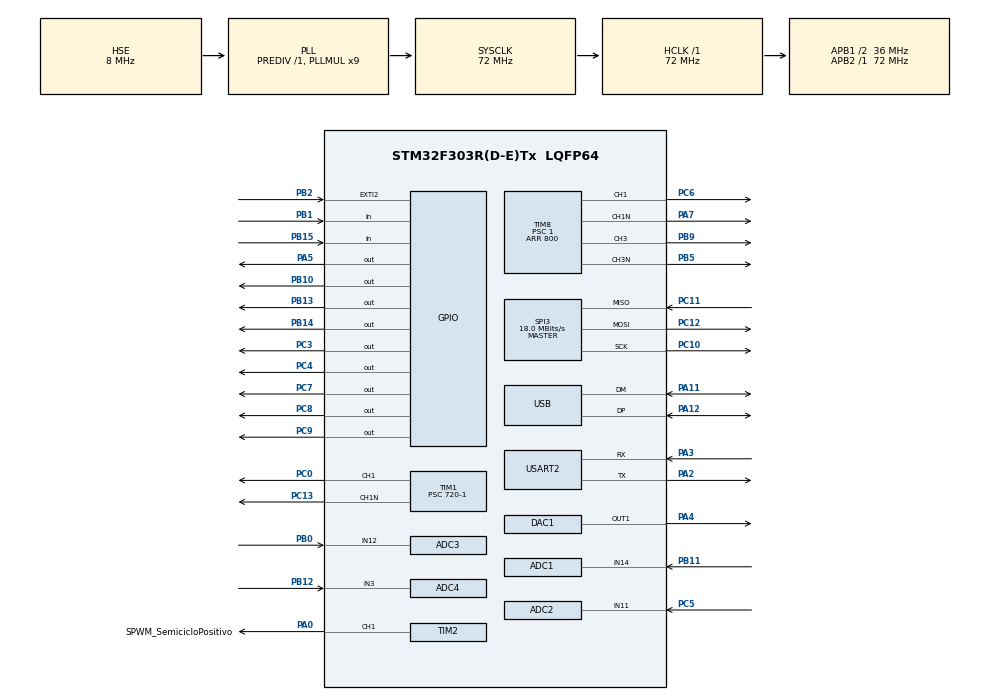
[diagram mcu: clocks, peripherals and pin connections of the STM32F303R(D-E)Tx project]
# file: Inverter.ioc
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ADC1.Channel-1\#ChannelRegularConversion=ADC_CHANNEL_14
ADC1.ClockPrescaler=ADC_CLOCK_SYNC_PCLK_DIV1
ADC1.ContinuousConvMode=ENABLE
ADC1.DMAContinuousRequests=ENABLE
ADC1.EOCSelection=ADC_EOC_SEQ_CONV
ADC1.EnableInjectedConversion=DISABLE
ADC1.NbrOfConversionFlag=1
ADC1.Offset-1\#ChannelRegularConversion=0
ADC1.OffsetNumber-1\#ChannelRegularConversion=ADC_OFFSET_NONE
ADC1.Overrun=ADC_OVR_DATA_OVERWRITTEN
ADC1.Rank-1\#ChannelRegularConversion=1
ADC1.SamplingTime-1\#ChannelRegularConversion=ADC_SAMPLETIME_1CYCLE_5
ADC1.master=1
ADC2.Channel-3\#ChannelRegularConversion=ADC_CHANNEL_11
ADC2.ClockPrescaler=ADC_CLOCK_SYNC_PCLK_DIV1
ADC2.ContinuousConvMode=ENABLE
ADC2.DMAContinuousRequests=ENABLE
ADC2.EnableInjectedConversion=DISABLE
ADC2.NbrOfConversionFlag=1
ADC2.Offset-3\#ChannelRegularConversion=0
ADC2.OffsetNumber-3\#ChannelRegularConversion=ADC_OFFSET_NONE
ADC2.Rank-3\#ChannelRegularConversion=1
ADC2.SamplingTime-3\#ChannelRegularConversion=ADC_SAMPLETIME_1CYCLE_5
ADC3.Channel-0\#ChannelRegularConversion=ADC_CHANNEL_12
ADC3.ClockPrescaler=ADC_CLOCK_SYNC_PCLK_DIV1
ADC3.ContinuousConvMode=ENABLE
ADC3.DMAContinuousRequests=ENABLE
ADC3.Mode=ADC_MODE_INDEPENDENT
ADC3.NbrOfConversionFlag=1
ADC3.Offset-0\#ChannelRegularConversion=0
ADC3.OffsetNumber-0\#ChannelRegularConversion=ADC_OFFSET_NONE
ADC3.Rank-0\#ChannelRegularConversion=1
ADC3.SamplingTime-0\#ChannelRegularConversion=ADC_SAMPLETIME_1CYCLE_5
ADC3.master=1
ADC4.Channel-1\#ChannelRegularConversion=ADC_CHANNEL_3
ADC4.ClockPrescaler=ADC_CLOCK_SYNC_PCLK_DIV1
ADC4.ContinuousConvMode=ENABLE
ADC4.DMAContinuousRequests=ENABLE
ADC4.NbrOfConversionFlag=1
ADC4.Offset-1\#ChannelRegularConversion=0
ADC4.OffsetNumber-1\#ChannelRegularConversion=ADC_OFFSET_NONE
ADC4.Rank-1\#ChannelRegularConversion=1
ADC4.SamplingTime-1\#ChannelRegularConversion=ADC_SAMPLETIME_1CYCLE_5
DAC1.DAC_Trigger=DAC_TRIGGER_T2_TRGO
Dma.ADC1.0.Direction=DMA_PERIPH_TO_MEMORY
Dma.ADC1.0.Instance=DMA1_Channel1
Dma.ADC1.0.MemDataAlignment=DMA_MDATAALIGN_WORD
Dma.ADC1.0.MemInc=DMA_MINC_ENABLE
Dma.ADC1.0.Mode=DMA_NORMAL
Dma.ADC1.0.PeriphDataAlignment=DMA_PDATAALIGN_WORD
Dma.ADC1.0.PeriphInc=DMA_PINC_DISABLE
Dma.ADC1.0.Priority=DMA_PRIORITY_VERY_HIGH
Dma.ADC2.3.Direction=DMA_PERIPH_TO_MEMORY
Dma.ADC2.3.Instance=DMA2_Channel1
Dma.ADC2.3.MemDataAlignment=DMA_MDATAALIGN_WORD
Dma.ADC2.3.MemInc=DMA_MINC_ENABLE
Dma.ADC2.3.Mode=DMA_NORMAL
Dma.ADC2.3.PeriphDataAlignment=DMA_PDATAALIGN_WORD
Dma.ADC2.3.PeriphInc=DMA_PINC_DISABLE
Dma.ADC2.3.Priority=DMA_PRIORITY_VERY_HIGH
Dma.ADC3.1.Direction=DMA_PERIPH_TO_MEMORY
Dma.ADC3.1.Instance=DMA2_Channel5
Dma.ADC3.1.MemDataAlignment=DMA_MDATAALIGN_WORD
Dma.ADC3.1.MemInc=DMA_MINC_ENABLE
Dma.ADC3.1.Mode=DMA_NORMAL
Dma.ADC3.1.PeriphDataAlignment=DMA_PDATAALIGN_WORD
Dma.ADC3.1.PeriphInc=DMA_PINC_DISABLE
Dma.ADC3.1.Priority=DMA_PRIORITY_VERY_HIGH
Dma.ADC4.2.Direction=DMA_PERIPH_TO_MEMORY
Dma.ADC4.2.Instance=DMA2_Channel2
Dma.ADC4.2.MemDataAlignment=DMA_MDATAALIGN_WORD
Dma.ADC4.2.MemInc=DMA_MINC_ENABLE
Dma.ADC4.2.Mode=DMA_NORMAL
Dma.ADC4.2.PeriphDataAlignment=DMA_PDATAALIGN_WORD
Dma.ADC4.2.PeriphInc=DMA_PINC_DISABLE
Dma.ADC4.2.Priority=DMA_PRIORITY_VERY_HIGH
Dma.DAC1_CH1.4.Direction=DMA_MEMORY_TO_PERIPH
Dma.DAC1_CH1.4.Instance=DMA1_Channel3
Dma.DAC1_CH1.4.MemDataAlignment=DMA_MDATAALIGN_WORD
Dma.DAC1_CH1.4.MemInc=DMA_MINC_ENABLE
Dma.DAC1_CH1.4.Mode=DMA_CIRCULAR
Dma.DAC1_CH1.4.PeriphDataAlignment=DMA_PDATAALIGN_WORD
Dma.DAC1_CH1.4.PeriphInc=DMA_PINC_DISABLE
Dma.DAC1_CH1.4.Priority=DMA_PRIORITY_LOW
Dma.MEMTOMEM.6.Direction=DMA_MEMORY_TO_MEMORY
Dma.MEMTOMEM.6.Instance=DMA1_Channel4
Dma.MEMTOMEM.6.MemDataAlignment=DMA_MDATAALIGN_HALFWORD
Dma.MEMTOMEM.6.MemInc=DMA_MINC_ENABLE
Dma.MEMTOMEM.6.Mode=DMA_NORMAL
Dma.MEMTOMEM.6.PeriphDataAlignment=DMA_PDATAALIGN_HALFWORD
Dma.MEMTOMEM.6.PeriphInc=DMA_PINC_ENABLE
Dma.MEMTOMEM.6.Priority=DMA_PRIORITY_HIGH
Dma.Request0=ADC1
Dma.Request1=ADC3
Dma.Request2=ADC4
Dma.Request3=ADC2
Dma.Request4=DAC1_CH1
Dma.Request5=TIM2_CH1
Dma.Request6=MEMTOMEM
Dma.TIM2_CH1.5.Direction=DMA_MEMORY_TO_PERIPH
Dma.TIM2_CH1.5.Instance=DMA1_Channel5
Dma.TIM2_CH1.5.MemDataAlignment=DMA_MDATAALIGN_WORD
Dma.TIM2_CH1.5.MemInc=DMA_MINC_ENABLE
Dma.TIM2_CH1.5.Mode=DMA_CIRCULAR
Dma.TIM2_CH1.5.PeriphDataAlignment=DMA_PDATAALIGN_WORD
Dma.TIM2_CH1.5.PeriphInc=DMA_PINC_DISABLE
Dma.TIM2_CH1.5.Priority=DMA_PRIORITY_VERY_HIGH
FATFS._FS_LOCK=30
FATFS._FS_NORTC=0
FATFS._MAX_SS=512
FATFS._MIN_SS=512
FATFS._USE_FORWARD=1
FATFS._USE_LFN=1
Mcu.Family=STM32F3
Mcu.Name=STM32F303R(D-E)Tx
Mcu.Package=LQFP64
NVIC.DMA1_Channel1_IRQn=true\:0\:0\:false\:false\:true\:false\:true\:true
NVIC.DMA1_Channel3_IRQn=true\:0\:0\:false\:false\:true\:false\:true\:true
NVIC.DMA1_Channel5_IRQn=true\:0\:0\:false\:false\:true\:false\:true\:true
NVIC.DMA2_Channel1_IRQn=true\:0\:0\:false\:false\:true\:false\:true\:true
NVIC.DMA2_Channel2_IRQn=true\:0\:0\:false\:false\:true\:false\:true\:true
NVIC.DMA2_Channel5_IRQn=true\:0\:0\:false\:false\:true\:false\:true\:true
NVIC.PriorityGroup=NVIC_PRIORITYGROUP_0
NVIC.TIM1_UP_TIM16_IRQn=true\:0\:0\:false\:false\:true\:true\:true\:true
NVIC.TIM3_IRQn=true\:0\:7\:false\:false\:true\:true\:true\:true
NVIC.TIM7_IRQn=true\:0\:0\:false\:false\:true\:true\:true\:true
NVIC.USB_LP_IRQn=true\:0\:0\:false\:false\:true\:false\:true\:true
PA0.GPIO_Label=SPWM_SemicicloPositivo
PA0.Signal=S_TIM2_CH1_ETR
PA11.Mode=Device
PA11.Signal=USB_DM
PA12.Mode=Device
PA12.Signal=USB_DP
PA13.Mode=Serial_Wire
PA13.Signal=SYS_JTMS-SWDIO
PA14.Mode=Serial_Wire
PA14.Signal=SYS_JTCK-SWCLK
PA2.GPIO_Mode=GPIO_MODE_AF_PP
PA2.GPIO_ModeDefaultPP=GPIO_MODE_AF_PP
PA2.GPIO_PuPd=GPIO_NOPULL
PA2.GPIO_Speed=GPIO_SPEED_FREQ_HIGH
PA2.Mode=Asynchronous
PA2.Signal=USART2_TX
PA3.GPIO_Mode=GPIO_MODE_AF_PP
PA3.GPIO_ModeDefaultPP=GPIO_MODE_AF_PP
PA3.GPIO_PuPd=GPIO_NOPULL
PA3.GPIO_Speed=GPIO_SPEED_FREQ_HIGH
PA3.Mode=Asynchronous
PA3.Signal=USART2_RX
PA4.Signal=COMP_DAC11_group
PA5.GPIO_Mode=GPIO_MODE_OUTPUT_PP
PA5.GPIO_ModeDefaultOutputPP=GPIO_MODE_OUTPUT_PP
PA5.GPIO_PuPd=GPIO_NOPULL
PA5.GPIO_Speed=GPIO_SPEED_FREQ_LOW
PA5.PinState=GPIO_PIN_RESET
PA5.Signal=GPIO_Output
PA7.Mode=PWM Generation1 CH1 CH1N
PA7.Signal=TIM8_CH1N
PB0.Mode=IN12-Single-Ended
PB0.Signal=ADC3_IN12
PB1.Signal=GPIO_Input
PB10.Signal=GPIO_Output
PB11.Mode=IN14-Single-Ended
PB11.Signal=ADC1_IN14
PB12.Mode=IN3-Single-Ended
PB12.Signal=ADC4_IN3
PB13.Signal=GPIO_Output
PB14.Signal=GPIO_Output
PB15.Signal=GPIO_Input
PB2.Signal=GPXTI2
PB3.Signal=SYS_JTDO-TRACESWO
PB5.Mode=PWM Generation3 CH3 CH3N
PB5.Signal=TIM8_CH3N
PB9.Signal=S_TIM8_CH3
PC0.Signal=S_TIM1_CH1
PC10.GPIO_Speed=GPIO_SPEED_FREQ_HIGH
PC10.Mode=Full_Duplex_Master
PC10.Signal=SPI3_SCK
PC11.Mode=Full_Duplex_Master
PC11.Signal=SPI3_MISO
PC12.Mode=Full_Duplex_Master
PC12.Signal=SPI3_MOSI
PC13.Mode=PWM Generation1 CH1 CH1N
PC13.Signal=TIM1_CH1N
PC14-OSC32_IN.Mode=LSE-External-Clock-Source
PC14-OSC32_IN.Signal=RCC_OSC32_IN
PC15-OSC32_OUT.Signal=RCC_OSC32_OUT
PC3.Signal=GPIO_Output
PC4.Signal=GPIO_Output
PC5.Mode=IN11-Single-Ended
PC5.Signal=ADC2_IN11
PC6.Signal=S_TIM8_CH1
PC7.Signal=GPIO_Output
PC8.Signal=GPIO_Output
PC9.Signal=GPIO_Output
PF0-OSC_IN.Mode=HSE-External-Clock-Source
PF0-OSC_IN.Signal=RCC_OSC_IN
PF1-OSC_OUT.Signal=RCC_OSC_OUT
ProjectManager.HeapSize=0x200
ProjectManager.StackSize=0x400
ProjectManager.TargetToolchain=STM32CubeIDE
RCC.AHBFreq_Value=72000000
RCC.APB1CLKDivider=RCC_HCLK_DIV2
RCC.APB1Freq_Value=36000000
RCC.APB1TimFreq_Value=72000000
RCC.APB2Freq_Value=72000000
RCC.APB2TimFreq_Value=72000000
RCC.CortexFreq_Value=72000000
RCC.HCLKFreq_Value=72000000
RCC.HSE_VALUE=8000000
RCC.HSI_VALUE=8000000
RCC.LSE_VALUE=32768
RCC.PLLM=8
RCC.PLLMUL=RCC_PLL_MUL9
RCC.PLLN=336
RCC.PLLP=RCC_PLLP_DIV4
RCC.PLLQ=7
RCC.PRESCALERUSB=RCC_USBCLKSOURCE_PLL_DIV1_5
RCC.RCC_PLLsource_Clock_Source_FROM_HSE=RCC_HSE_PREDIV_DIV2
RCC.SYSCLKFreq_VALUE=72000000
RCC.SYSCLKSourceVirtual=RCC_SYSCLKSOURCE_PLLCLK
RCC.USBFreq_Value=48000000
RCC.Usart2ClockSelection=RCC_USART2CLKSOURCE_SYSCLK
SH.COMP_DAC11_group.0=DAC1_OUT1,DAC_OUT1
SH.S_TIM1_CH1.0=TIM1_CH1,PWM Generation1 CH1 CH1N
SH.S_TIM2_CH1_ETR.0=TIM2_CH1,PWM Generation1 CH1
SH.S_TIM8_CH1.0=TIM8_CH1,PWM Generation1 CH1 CH1N
SH.S_TIM8_CH3.0=TIM8_CH3,PWM Generation3 CH3 CH3N
SPI3.BaudRatePrescaler=SPI_BAUDRATEPRESCALER_2
SPI3.CLKPolarity=SPI_POLARITY_LOW
SPI3.CalculateBaudRate=18.0 MBits/s
SPI3.DataSize=SPI_DATASIZE_8BIT
SPI3.Direction=SPI_DIRECTION_2LINES
SPI3.Mode=SPI_MODE_MASTER
SPI3.VirtualType=VM_MASTER
TIM1.AutomaticOutput=TIM_AUTOMATICOUTPUT_DISABLE
TIM1.BreakFilter=0
TIM1.BreakState=TIM_BREAK_ENABLE
TIM1.Channel-PWM\ Generation1\ CH1\ CH1N=TIM_CHANNEL_1
TIM1.ClearInputSource=TIM_CLEARINPUTSOURCE_NONE
TIM1.DeadTime=255
TIM1.OC1Preload_PWM=DISABLE
TIM1.OCFastMode_PWM-PWM\ Generation1\ CH1\ CH1N=TIM_OCFAST_ENABLE
TIM1.OffStateIDLEMode=TIM_OSSI_DISABLE
TIM1.OffStateRunMode=TIM_OSSR_DISABLE
TIM1.Period=2000-1
TIM1.Prescaler=720-1
TIM1.Pulse-PWM\ Generation1\ CH1\ CH1N=1000-1
TIM1.TIM_MasterOutputTrigger=TIM_TRGO_RESET
TIM1.TIM_MasterSlaveMode=TIM_MASTERSLAVEMODE_DISABLE
TIM2.AutoReloadPreload=TIM_AUTORELOAD_PRELOAD_DISABLE
TIM2.Channel-PWM\ Generation1\ CH1=TIM_CHANNEL_1
TIM2.ClearInputSource=TIM_CLEARINPUTSOURCE_NONE
TIM2.OC1Preload_PWM=DISABLE
TIM2.Period=2880-1
TIM2.Prescaler=0
TIM2.Pulse-PWM\ Generation1\ CH1=0
TIM2.TIM_MasterOutputTrigger=TIM_TRGO_RESET
TIM2.TIM_MasterSlaveMode=TIM_MASTERSLAVEMODE_DISABLE
TIM3.AutoReloadPreload=TIM_AUTORELOAD_PRELOAD_ENABLE
TIM3.Period=10
TIM3.Prescaler=72
TIM3.TIM_MasterOutputTrigger=TIM_TRGO_UPDATE
TIM3.TIM_MasterSlaveMode=TIM_MASTERSLAVEMODE_DISABLE
TIM7.Period=300
TIM8.Channel-PWM\ Generation1\ CH1\ CH1N=TIM_CHANNEL_1
TIM8.Channel-PWM\ Generation2\ No\ Output=TIM_CHANNEL_2
TIM8.Channel-PWM\ Generation3\ CH3\ CH3N=TIM_CHANNEL_3
TIM8.Channel-PWM\ Generation4\ No\ Output=TIM_CHANNEL_4
TIM8.CounterMode=TIM_COUNTERMODE_CENTERALIGNED1
TIM8.DeadTime=100
TIM8.OC1Preload_PWM=DISABLE
TIM8.OC2Preload_PWM=DISABLE
TIM8.OC3Preload_PWM=DISABLE
TIM8.OC4Preload_PWM=DISABLE
TIM8.OCFastMode_PWM-PWM\ Generation1\ CH1\ CH1N=TIM_OCFAST_ENABLE
TIM8.OCFastMode_PWM-PWM\ Generation2\ No\ Output=TIM_OCFAST_ENABLE
TIM8.OCMode_PWM-PWM\ Generation1\ CH1\ CH1N=TIM_OCMODE_ASSYMETRIC_PWM1
TIM8.OCMode_PWM-PWM\ Generation2\ No\ Output=TIM_OCMODE_ASSYMETRIC_PWM1
TIM8.OCMode_PWM-PWM\ Generation3\ CH3\ CH3N=TIM_OCMODE_ASSYMETRIC_PWM1
TIM8.OCMode_PWM-PWM\ Generation4\ No\ Output=TIM_OCMODE_ASSYMETRIC_PWM1
TIM8.Period=800
TIM8.Prescaler=1
TIM8.Pulse-PWM\ Generation1\ CH1\ CH1N=500
TIM8.Pulse-PWM\ Generation3\ CH3\ CH3N=500
TIM8.TIM_MasterOutputTrigger=TIM_TRGO_OC1REF
TIM8.TIM_MasterOutputTrigger2=TIM_TRGO2_OC1REF
TIM8.TIM_MasterSlaveMode=TIM_MASTERSLAVEMODE_DISABLE
USART2.VirtualMode-Asynchronous=VM_ASYNC
USB_DEVICE.CLASS_NAME_FS=CDC
USB_DEVICE.USBD_SELF_POWERED=0
USB_DEVICE.VirtualMode=Cdc
USB_DEVICE.VirtualModeFS=Cdc_FS
VP_FATFS_VS_Generic.Mode=User_defined
VP_TIM1_VS_ClockSourceINT.Mode=Internal
VP_TIM2_VS_ClockSourceINT.Mode=Internal
VP_TIM3_VS_ClockSourceINT.Mode=Internal
VP_TIM7_VS_ClockSourceINT.Mode=Enable_Timer
VP_TIM8_VS_ClockSourceINT.Mode=Internal
VP_TIM8_VS_no_output2.Mode=PWM Generation2 No Output
VP_TIM8_VS_no_output4.Mode=PWM Generation4 No Output
VP_USB_DEVICE_VS_USB_DEVICE_CDC_FS.Mode=CDC_FS
board=NUCLEO-F303RE

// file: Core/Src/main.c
/* USER CODE BEGIN Header */
/**
  ******************************************************************************
  * @file           : main.c
  * @brief          : Main program body
  ******************************************************************************
  * @attention
  *
  * <h2><center>&copy; Copyright (c) 2020 STMicroelectronics.
  * All rights reserved.</center></h2>
  *
  * This software component is licensed by ST under BSD 3-Clause license,
  * the "License"; You may not use this file except in compliance with the
  * License. You may obtain a copy of the License at:
  *                        opensource.org/licenses/BSD-3-Clause
  *
  ******************************************************************************
  */
/* USER CODE END Header */
#include "main.h"
#include "fatfs.h"
#include "usb_device.h"

/* USER CODE BEGIN Includes */
#include "math.h"
#include "aplicacion.h"
#include "usbd_cdc_if.h"
#include "stm32f3xx_hal_dma.h"
#include "stm32f3xx_hal.h"
#include "Recursos.h"
#include "ILI9341_Driver.h"
#include "Panel Tactil.h"
#include "user_diskio.h"
#include "XPT2046_touch.h"
#include "stdio.h"

extern USBD_HandleTypeDef hUsbDeviceFS;
/* USER CODE END Includes */

ADC_HandleTypeDef hadc1;
ADC_HandleTypeDef hadc2;
ADC_HandleTypeDef hadc3;
ADC_HandleTypeDef hadc4;
DMA_HandleTypeDef hdma_adc1;
DMA_HandleTypeDef hdma_adc2;
DMA_HandleTypeDef hdma_adc3;
DMA_HandleTypeDef hdma_adc4;

DAC_HandleTypeDef hdac1;
DMA_HandleTypeDef hdma_dac1_ch1;

SPI_HandleTypeDef hspi3;

TIM_HandleTypeDef htim1;
TIM_HandleTypeDef htim2;
TIM_HandleTypeDef htim3;
TIM_HandleTypeDef htim7;
TIM_HandleTypeDef htim8;
DMA_HandleTypeDef hdma_tim2_ch1;

UART_HandleTypeDef huart2;

DMA_HandleTypeDef hdma_memtomem_dma1_channel4;
/* USER CODE BEGIN PV */
uint32_t USBRX=0;

FATFS fs;
FATFS *pfs;

FRESULT fres;
DWORD fre_clust;
uint32_t totalSpace, freeSpace;
char buffer[300];
int ERROR_SD=0;
int debug=0;
/*
volatile uint16_t contDePulsosPWM=0;
volatile uint8_t Semiciclo=0;
*/
/*
const float SPWM[256] =
{
0.0000,0.0123,0.0245,0.0368,0.0491,0.0613,0.0736,0.0858,0.0980,0.1102,
0.1224,0.1346,0.1467,0.1589,0.1710,0.1830,0.1951,0.2071,0.2191,0.2311,
0.2430,0.2549,0.2667,0.2785,0.2903,0.3020,0.3137,0.3253,0.3369,0.3484,
0.3599,0.3713,0.3827,0.3940,0.4052,0.4164,0.4276,0.4386,0.4496,0.4605,
0.4714,0.4822,0.4929,0.5035,0.5141,0.5246,0.5350,0.5453,0.5556,0.5657,
0.5758,0.5858,0.5957,0.6055,0.6152,0.6249,0.6344,0.6438,0.6532,0.6624,
0.6716,0.6806,0.6895,0.6984,0.7071,0.7157,0.7242,0.7327,0.7410,0.7491,
0.7572,0.7652,0.7730,0.7807,0.7883,0.7958,0.8032,0.8105,0.8176,0.8246,
0.8315,0.8382,0.8449,0.8514,0.8577,0.8640,0.8701,0.8761,0.8819,0.8876,
0.8932,0.8987,0.9040,0.9092,0.9142,0.9191,0.9239,0.9285,0.9330,0.9373,
0.9415,0.9456,0.9495,0.9533,0.9569,0.9604,0.9638,0.9670,0.9700,0.9729,
0.9757,0.9783,0.9808,0.9831,0.9853,0.9873,0.9892,0.9909,0.9925,0.9939,
0.9952,0.9963,0.9973,0.9981,0.9988,0.9993,0.9997,0.9999,1.0000,0.9999,
0.9997,0.9993,0.9988,0.9981,0.9973,0.9963,0.9952,0.9939,0.9925,0.9909,
0.9892,0.9873,0.9853,0.9831,0.9808,0.9783,0.9757,0.9729,0.9700,0.9670,
0.9638,0.9604,0.9569,0.9533,0.9495,0.9456,0.9415,0.9373,0.9330,0.9285,
0.9239,0.9191,0.9142,0.9092,0.9040,0.8987,0.8932,0.8876,0.8819,0.8761,
0.8701,0.8640,0.8577,0.8514,0.8449,0.8382,0.8315,0.8246,0.8176,0.8105,
0.8032,0.7958,0.7883,0.7807,0.7730,0.7652,0.7572,0.7491,0.7410,0.7327,
0.7242,0.7157,0.7071,0.6984,0.6895,0.6806,0.6716,0.6624,0.6532,0.6438,
0.6344,0.6249,0.6152,0.6055,0.5957,0.5858,0.5758,0.5657,0.5556,0.5453,
0.5350,0.5246,0.5141,0.5035,0.4929,0.4822,0.4714,0.4605,0.4496,0.4386,
0.4276,0.4164,0.4052,0.3940,0.3827,0.3713,0.3599,0.3484,0.3369,0.3253,
0.3137,0.3020,0.2903,0.2785,0.2667,0.2549,0.2430,0.2311,0.2191,0.2071,
0.1951,0.1830,0.1710,0.1589,0.1467,0.1346,0.1224,0.1102,0.0980,0.0858,
0.0736,0.0613,0.0491,0.0368,0.0245,0.0123
};

const float SPWM[250] =
{
0.0000,0.0126,0.0251,0.0377,0.0502,0.0628,0.0753,0.0879,0.1004,0.1129,
0.1253,0.1378,0.1502,0.1626,0.1750,0.1874,0.1997,0.2120,0.2243,0.2365,
0.2487,0.2608,0.2730,0.2850,0.2970,0.3090,0.3209,0.3328,0.3446,0.3564,
0.3681,0.3798,0.3914,0.4029,0.4144,0.4258,0.4371,0.4484,0.4596,0.4707,
0.4818,0.4927,0.5036,0.5144,0.5252,0.5358,0.5464,0.5569,0.5673,0.5776,
0.5878,0.5979,0.6079,0.6179,0.6277,0.6374,0.6471,0.6566,0.6660,0.6753,
0.6845,0.6937,0.7026,0.7115,0.7203,0.7290,0.7375,0.7459,0.7543,0.7624,
0.7705,0.7785,0.7863,0.7940,0.8016,0.8090,0.8163,0.8235,0.8306,0.8375,
0.8443,0.8510,0.8575,0.8639,0.8702,0.8763,0.8823,0.8881,0.8938,0.8994,
0.9048,0.9101,0.9152,0.9202,0.9251,0.9298,0.9343,0.9387,0.9430,0.9471,
0.9511,0.9549,0.9585,0.9620,0.9654,0.9686,0.9716,0.9745,0.9773,0.9799,
0.9823,0.9846,0.9867,0.9887,0.9905,0.9921,0.9936,0.9950,0.9961,0.9972,
0.9980,0.9987,0.9993,0.9997,0.9999,1.0000,0.9999,0.9997,0.9993,0.9987,
0.9980,0.9972,0.9961,0.9950,0.9936,0.9921,0.9905,0.9887,0.9867,0.9846,
0.9823,0.9799,0.9773,0.9745,0.9716,0.9686,0.9654,0.9620,0.9585,0.9549,
0.9511,0.9471,0.9430,0.9387,0.9343,0.9298,0.9251,0.9202,0.9152,0.9101,
0.9048,0.8994,0.8938,0.8881,0.8823,0.8763,0.8702,0.8639,0.8575,0.8510,
0.8443,0.8375,0.8306,0.8235,0.8163,0.8090,0.8016,0.7940,0.7863,0.7785,
0.7705,0.7624,0.7543,0.7459,0.7375,0.7290,0.7203,0.7115,0.7026,0.6937,
0.6845,0.6753,0.6660,0.6566,0.6471,0.6374,0.6277,0.6179,0.6079,0.5979,
0.5878,0.5776,0.5673,0.5569,0.5464,0.5358,0.5252,0.5144,0.5036,0.4927,
0.4818,0.4707,0.4596,0.4484,0.4371,0.4258,0.4144,0.4029,0.3914,0.3798,
0.3681,0.3564,0.3446,0.3328,0.3209,0.3090,0.2970,0.2850,0.2730,0.2608,
0.2487,0.2365,0.2243,0.2120,0.1997,0.1874,0.1750,0.1626,0.1502,0.1378,
0.1253,0.1129,0.1004,0.0879,0.0753,0.0628,0.0502,0.0377,0.0251,0.0126,
0.0000
};
*/
const float SPWM[250] =
{
		1,1,1,1,1,1,1,1,1,1,
		1,1,1,1,1,1,1,1,1,1,
		1,1,1,1,1,1,1,1,1,1,
		1,1,1,1,1,1,1,1,1,1,
		1,1,1,1,1,1,1,1,1,1,

		0,0,0,0,0,0,0,0,0,0,
		0,0,0,0,0,0,0,0,0,0,
		0,0,0,0,0,0,0,0,0,0,
		0,0,0,0,0,0,0,0,0,0,
		0,0,0,0,0,0,0,0,0,0,

		0,0,0,0,0,0,0,0,0,0,
		0,0,0,0,0,0,0,0,0,0,
		0,0,0,0,0,0,0,0,0,0,
		0,0,0,0,0,0,0,0,0,0,
		0,0,0,0,0,0,0,0,0,0,

		0,0,0,0,0,0,0,0,0,0,
		0,0,0,0,0,0,0,0,0,0,
		0,0,0,0,0,0,0,0,0,0,
		0,0,0,0,0,0,0,0,0,0,
		0,0,0,0,0,0,0,0,0,0,

		0,0,0,0,0,0,0,0,0,0,
		0,0,0,0,0,0,0,0,0,0,
		0,0,0,0,0,0,0,0,0,0,
		0,0,0,0,0,0,0,0,0,0,
		0,0,0,0,0,0,0,0,0,0

};

uint32_t SPWM1[250];
uint32_t SPWM2[250];

/* USER CODE END PV */

void SystemClock_Config(void);
static void MX_GPIO_Init(void);
static void MX_DMA_Init(void);
static void MX_USART2_UART_Init(void);
static void MX_TIM2_Init(void);
static void MX_ADC1_Init(void);
static void MX_ADC3_Init(void);
static void MX_ADC4_Init(void);
static void MX_ADC2_Init(void);
static void MX_TIM1_Init(void);
static void MX_DAC1_Init(void);
static void MX_TIM3_Init(void);
static void MX_SPI3_Init(void);
static void MX_TIM7_Init(void);
static void MX_TIM8_Init(void);

/* USER CODE BEGIN 0 */
#define PI 3.141596
uint32_t Seno[100];

//uint8_t BufferRX[100];
//uint8_t Canal=1;

void GenOnda()
{
	int i;

	for(i=0;i<100;i++)
	{
		Seno[i]=(sin(2*PI*i/100)*1000+2048);
	}
}

/* USER CODE END 0 */

int main(void)
{

  /* MCU Configuration--------------------------------------------------------*/

  /* Reset of all peripherals, Initializes the Flash interface and the Systick. */
  HAL_Init();

  /* Configure the system clock */
  SystemClock_Config();

  /* Initialize all configured peripherals */
  MX_GPIO_Init();
  MX_DMA_Init();
  MX_USART2_UART_Init();
  MX_USB_DEVICE_Init();
  MX_TIM2_Init();
  MX_ADC1_Init();
  MX_ADC3_Init();
  MX_ADC4_Init();
  MX_ADC2_Init();
  MX_TIM1_Init();
  MX_DAC1_Init();
  MX_TIM3_Init();
  MX_SPI3_Init();
  MX_FATFS_Init();
  MX_TIM7_Init();
  MX_TIM8_Init();
  /* USER CODE BEGIN 2 */

  SD_CS_OFF;
  TFT_CS_OFF;
  TP_CS_OFF;

  ILI9341_Init();
  ERROR_SD=0;
  TFT_CS_OFF;
  // Mount SD Card
  SD_CS_ON;
  if(f_mount(&fs, "",1) != FR_OK) ERROR_SD=0x01;// _Error_Handler(__FILE__, __LINE__);

  /* =============Initialization=============== */
  ILI9341_Init();
  //TP_Init();
  /* USER CODE END 2 */

  /* Infinite loop */
  /* USER CODE BEGIN WHILE */
  //HAL_CAN_Start(&hcan);
  //CAN1_Config();

  HAL_TIM_Base_Start_IT(&htim1);
  HAL_TIM_PWM_Start_IT(&htim1,TIM_CHANNEL_1);
  HAL_TIMEx_PWMN_Start(&htim1,TIM_CHANNEL_1);

  //HAL_TIM_PWM_Start(&htim2,TIM_CHANNEL_1); //Inverter
  //HAL_TIM_PWM_Start(&htim2,TIM_CHANNEL_2); //Inverter

  HAL_TIM_Base_Start(&htim2);
  HAL_TIM_PWM_Start_DMA(&htim2,TIM_CHANNEL_1,SPWM1,250);

  HAL_TIM_Base_Start(&htim3);// OSC

  HAL_TIM_Base_Start(&htim8);
  HAL_TIM_PWM_Start(&htim8, TIM_CHANNEL_1);
  HAL_TIMEx_PWMN_Start(&htim8,TIM_CHANNEL_1);

  HAL_TIM_PWM_Start(&htim8, TIM_CHANNEL_2);
  HAL_TIMEx_PWMN_Start(&htim8,TIM_CHANNEL_2);

  HAL_TIM_PWM_Start(&htim8, TIM_CHANNEL_3);
  HAL_TIMEx_PWMN_Start(&htim8,TIM_CHANNEL_3);

  GenOnda();
  HAL_DAC_Start_DMA(&hdac1,DAC_CHANNEL_1, Seno, 100, DAC_ALIGN_12B_R);

  AppInit();

  while(1)
  {
	  if(HAL_GPIO_ReadPin(TP_IRQ_GPIO_Port, TP_IRQ_Pin) == 0)
	  {
       	  AtencionTecla();
	  }
	  else
	  {
		  AppLoop();
	  }

	  HAL_GPIO_TogglePin(GPIOA,GPIO_PIN_5);

    /* USER CODE END WHILE */

  }
}

void SystemClock_Config(void)
{
  RCC_OscInitTypeDef RCC_OscInitStruct = {0};
  RCC_ClkInitTypeDef RCC_ClkInitStruct = {0};
  RCC_PeriphCLKInitTypeDef PeriphClkInit = {0};

  /** Initializes the RCC Oscillators according to the specified parameters
  * in the RCC_OscInitTypeDef structure.
  */
  RCC_OscInitStruct.OscillatorType = RCC_OSCILLATORTYPE_HSE;
  RCC_OscInitStruct.HSEState = RCC_HSE_BYPASS;
  RCC_OscInitStruct.HSIState = RCC_HSI_ON;
  RCC_OscInitStruct.PLL.PLLState = RCC_PLL_ON;
  RCC_OscInitStruct.PLL.PLLSource = RCC_PLLSOURCE_HSE;
  RCC_OscInitStruct.PLL.PLLMUL = RCC_PLL_MUL9;
  RCC_OscInitStruct.PLL.PREDIV = RCC_PREDIV_DIV1;
  if (HAL_RCC_OscConfig(&RCC_OscInitStruct) != HAL_OK)
  {
    Error_Handler();
  }

  /** Initializes the CPU, AHB and APB buses clocks
  */
  RCC_ClkInitStruct.ClockType = RCC_CLOCKTYPE_HCLK|RCC_CLOCKTYPE_SYSCLK
                              |RCC_CLOCKTYPE_PCLK1|RCC_CLOCKTYPE_PCLK2;
  RCC_ClkInitStruct.SYSCLKSource = RCC_SYSCLKSOURCE_PLLCLK;
  RCC_ClkInitStruct.AHBCLKDivider = RCC_SYSCLK_DIV1;
  RCC_ClkInitStruct.APB1CLKDivider = RCC_HCLK_DIV2;
  RCC_ClkInitStruct.APB2CLKDivider = RCC_HCLK_DIV1;

  if (HAL_RCC_ClockConfig(&RCC_ClkInitStruct, FLASH_LATENCY_2) != HAL_OK)
  {
    Error_Handler();
  }
  PeriphClkInit.PeriphClockSelection = RCC_PERIPHCLK_USB|RCC_PERIPHCLK_USART2
                              |RCC_PERIPHCLK_TIM1|RCC_PERIPHCLK_TIM8
                              |RCC_PERIPHCLK_TIM2|RCC_PERIPHCLK_TIM34;
  PeriphClkInit.Usart2ClockSelection = RCC_USART2CLKSOURCE_SYSCLK;
  PeriphClkInit.USBClockSelection = RCC_USBCLKSOURCE_PLL_DIV1_5;
  PeriphClkInit.Tim1ClockSelection = RCC_TIM1CLK_HCLK;
  PeriphClkInit.Tim8ClockSelection = RCC_TIM8CLK_HCLK;
  PeriphClkInit.Tim2ClockSelection = RCC_TIM2CLK_HCLK;
  PeriphClkInit.Tim34ClockSelection = RCC_TIM34CLK_HCLK;
  if (HAL_RCCEx_PeriphCLKConfig(&PeriphClkInit) != HAL_OK)
  {
    Error_Handler();
  }
}

static void MX_ADC1_Init(void)
{

  ADC_MultiModeTypeDef multimode = {0};
  ADC_ChannelConfTypeDef sConfig = {0};

  /** Common config
  */
  hadc1.Instance = ADC1;
  hadc1.Init.ClockPrescaler = ADC_CLOCK_SYNC_PCLK_DIV1;
  hadc1.Init.Resolution = ADC_RESOLUTION_12B;
  hadc1.Init.ScanConvMode = ADC_SCAN_DISABLE;
  hadc1.Init.ContinuousConvMode = ENABLE;
  hadc1.Init.DiscontinuousConvMode = DISABLE;
  hadc1.Init.ExternalTrigConvEdge = ADC_EXTERNALTRIGCONVEDGE_NONE;
  hadc1.Init.ExternalTrigConv = ADC_SOFTWARE_START;
  hadc1.Init.DataAlign = ADC_DATAALIGN_RIGHT;
  hadc1.Init.NbrOfConversion = 1;
  hadc1.Init.DMAContinuousRequests = ENABLE;
  hadc1.Init.EOCSelection = ADC_EOC_SEQ_CONV;
  hadc1.Init.LowPowerAutoWait = DISABLE;
  hadc1.Init.Overrun = ADC_OVR_DATA_OVERWRITTEN;
  if (HAL_ADC_Init(&hadc1) != HAL_OK)
  {
    Error_Handler();
  }

  /** Configure the ADC multi-mode
  */
  multimode.Mode = ADC_MODE_INDEPENDENT;
  if (HAL_ADCEx_MultiModeConfigChannel(&hadc1, &multimode) != HAL_OK)
  {
    Error_Handler();
  }

  /** Configure Regular Channel
  */
  sConfig.Channel = ADC_CHANNEL_14;
  sConfig.Rank = ADC_REGULAR_RANK_1;
  sConfig.SingleDiff = ADC_SINGLE_ENDED;
  sConfig.SamplingTime = ADC_SAMPLETIME_1CYCLE_5;
  sConfig.OffsetNumber = ADC_OFFSET_NONE;
  sConfig.Offset = 0;
  if (HAL_ADC_ConfigChannel(&hadc1, &sConfig) != HAL_OK)
  {
    Error_Handler();
  }

}

static void MX_ADC2_Init(void)
{

  ADC_ChannelConfTypeDef sConfig = {0};

  /** Common config
  */
  hadc2.Instance = ADC2;
  hadc2.Init.ClockPrescaler = ADC_CLOCK_SYNC_PCLK_DIV1;
  hadc2.Init.Resolution = ADC_RESOLUTION_12B;
  hadc2.Init.ScanConvMode = ADC_SCAN_DISABLE;
  hadc2.Init.ContinuousConvMode = ENABLE;
  hadc2.Init.DiscontinuousConvMode = DISABLE;
  hadc2.Init.ExternalTrigConvEdge = ADC_EXTERNALTRIGCONVEDGE_NONE;
  hadc2.Init.ExternalTrigConv = ADC_SOFTWARE_START;
  hadc2.Init.DataAlign = ADC_DATAALIGN_RIGHT;
  hadc2.Init.NbrOfConversion = 1;
  hadc2.Init.DMAContinuousRequests = ENABLE;
  hadc2.Init.EOCSelection = ADC_EOC_SINGLE_CONV;
  hadc2.Init.LowPowerAutoWait = DISABLE;
  hadc2.Init.Overrun = ADC_OVR_DATA_OVERWRITTEN;
  if (HAL_ADC_Init(&hadc2) != HAL_OK)
  {
    Error_Handler();
  }

  /** Configure Regular Channel
  */
  sConfig.Channel = ADC_CHANNEL_11;
  sConfig.Rank = ADC_REGULAR_RANK_1;
  sConfig.SingleDiff = ADC_SINGLE_ENDED;
  sConfig.SamplingTime = ADC_SAMPLETIME_1CYCLE_5;
  sConfig.OffsetNumber = ADC_OFFSET_NONE;
  sConfig.Offset = 0;
  if (HAL_ADC_ConfigChannel(&hadc2, &sConfig) != HAL_OK)
  {
    Error_Handler();
  }

}

static void MX_ADC3_Init(void)
{

  ADC_MultiModeTypeDef multimode = {0};
  ADC_ChannelConfTypeDef sConfig = {0};

  /** Common config
  */
  hadc3.Instance = ADC3;
  hadc3.Init.ClockPrescaler = ADC_CLOCK_SYNC_PCLK_DIV1;
  hadc3.Init.Resolution = ADC_RESOLUTION_12B;
  hadc3.Init.ScanConvMode = ADC_SCAN_DISABLE;
  hadc3.Init.ContinuousConvMode = ENABLE;
  hadc3.Init.DiscontinuousConvMode = DISABLE;
  hadc3.Init.ExternalTrigConvEdge = ADC_EXTERNALTRIGCONVEDGE_NONE;
  hadc3.Init.ExternalTrigConv = ADC_SOFTWARE_START;
  hadc3.Init.DataAlign = ADC_DATAALIGN_RIGHT;
  hadc3.Init.NbrOfConversion = 1;
  hadc3.Init.DMAContinuousRequests = ENABLE;
  hadc3.Init.EOCSelection = ADC_EOC_SINGLE_CONV;
  hadc3.Init.LowPowerAutoWait = DISABLE;
  hadc3.Init.Overrun = ADC_OVR_DATA_OVERWRITTEN;
  if (HAL_ADC_Init(&hadc3) != HAL_OK)
  {
    Error_Handler();
  }

  /** Configure the ADC multi-mode
  */
  multimode.Mode = ADC_MODE_INDEPENDENT;
  if (HAL_ADCEx_MultiModeConfigChannel(&hadc3, &multimode) != HAL_OK)
  {
    Error_Handler();
  }

  /** Configure Regular Channel
  */
  sConfig.Channel = ADC_CHANNEL_12;
  sConfig.Rank = ADC_REGULAR_RANK_1;
  sConfig.SingleDiff = ADC_SINGLE_ENDED;
  sConfig.SamplingTime = ADC_SAMPLETIME_1CYCLE_5;
  sConfig.OffsetNumber = ADC_OFFSET_NONE;
  sConfig.Offset = 0;
  if (HAL_ADC_ConfigChannel(&hadc3, &sConfig) != HAL_OK)
  {
    Error_Handler();
  }

}

static void MX_ADC4_Init(void)
{

  ADC_ChannelConfTypeDef sConfig = {0};

  /** Common config
  */
  hadc4.Instance = ADC4;
  hadc4.Init.ClockPrescaler = ADC_CLOCK_SYNC_PCLK_DIV1;
  hadc4.Init.Resolution = ADC_RESOLUTION_12B;
  hadc4.Init.ScanConvMode = ADC_SCAN_DISABLE;
  hadc4.Init.ContinuousConvMode = ENABLE;
  hadc4.Init.DiscontinuousConvMode = DISABLE;
  hadc4.Init.ExternalTrigConvEdge = ADC_EXTERNALTRIGCONVEDGE_NONE;
  hadc4.Init.ExternalTrigConv = ADC_SOFTWARE_START;
  hadc4.Init.DataAlign = ADC_DATAALIGN_RIGHT;
  hadc4.Init.NbrOfConversion = 1;
  hadc4.Init.DMAContinuousRequests = ENABLE;
  hadc4.Init.EOCSelection = ADC_EOC_SINGLE_CONV;
  hadc4.Init.LowPowerAutoWait = DISABLE;
  hadc4.Init.Overrun = ADC_OVR_DATA_OVERWRITTEN;
  if (HAL_ADC_Init(&hadc4) != HAL_OK)
  {
    Error_Handler();
  }

  /** Configure Regular Channel
  */
  sConfig.Channel = ADC_CHANNEL_3;
  sConfig.Rank = ADC_REGULAR_RANK_1;
  sConfig.SingleDiff = ADC_SINGLE_ENDED;
  sConfig.SamplingTime = ADC_SAMPLETIME_1CYCLE_5;
  sConfig.OffsetNumber = ADC_OFFSET_NONE;
  sConfig.Offset = 0;
  if (HAL_ADC_ConfigChannel(&hadc4, &sConfig) != HAL_OK)
  {
    Error_Handler();
  }

}

static void MX_DAC1_Init(void)
{

  DAC_ChannelConfTypeDef sConfig = {0};

  /** DAC Initialization
  */
  hdac1.Instance = DAC1;
  if (HAL_DAC_Init(&hdac1) != HAL_OK)
  {
    Error_Handler();
  }

  /** DAC channel OUT1 config
  */
  sConfig.DAC_Trigger = DAC_TRIGGER_T2_TRGO;
  sConfig.DAC_OutputBuffer = DAC_OUTPUTBUFFER_ENABLE;
  if (HAL_DAC_ConfigChannel(&hdac1, &sConfig, DAC_CHANNEL_1) != HAL_OK)
  {
    Error_Handler();
  }

}

static void MX_SPI3_Init(void)
{

  /* SPI3 parameter configuration*/
  hspi3.Instance = SPI3;
  hspi3.Init.Mode = SPI_MODE_MASTER;
  hspi3.Init.Direction = SPI_DIRECTION_2LINES;
  hspi3.Init.DataSize = SPI_DATASIZE_8BIT;
  hspi3.Init.CLKPolarity = SPI_POLARITY_LOW;
  hspi3.Init.CLKPhase = SPI_PHASE_1EDGE;
  hspi3.Init.NSS = SPI_NSS_SOFT;
  hspi3.Init.BaudRatePrescaler = SPI_BAUDRATEPRESCALER_2;
  hspi3.Init.FirstBit = SPI_FIRSTBIT_MSB;
  hspi3.Init.TIMode = SPI_TIMODE_DISABLE;
  hspi3.Init.CRCCalculation = SPI_CRCCALCULATION_DISABLE;
  hspi3.Init.CRCPolynomial = 7;
  hspi3.Init.CRCLength = SPI_CRC_LENGTH_DATASIZE;
  hspi3.Init.NSSPMode = SPI_NSS_PULSE_ENABLE;
  if (HAL_SPI_Init(&hspi3) != HAL_OK)
  {
    Error_Handler();
  }

}

static void MX_TIM1_Init(void)
{

  TIM_ClockConfigTypeDef sClockSourceConfig = {0};
  TIM_MasterConfigTypeDef sMasterConfig = {0};
  TIM_OC_InitTypeDef sConfigOC = {0};
  TIM_BreakDeadTimeConfigTypeDef sBreakDeadTimeConfig = {0};

  htim1.Instance = TIM1;
  htim1.Init.Prescaler = 720-1;
  htim1.Init.CounterMode = TIM_COUNTERMODE_UP;
  htim1.Init.Period = 2000-1;
  htim1.Init.ClockDivision = TIM_CLOCKDIVISION_DIV1;
  htim1.Init.RepetitionCounter = 0;
  htim1.Init.AutoReloadPreload = TIM_AUTORELOAD_PRELOAD_DISABLE;
  if (HAL_TIM_Base_Init(&htim1) != HAL_OK)
  {
    Error_Handler();
  }
  sClockSourceConfig.ClockSource = TIM_CLOCKSOURCE_INTERNAL;
  if (HAL_TIM_ConfigClockSource(&htim1, &sClockSourceConfig) != HAL_OK)
  {
    Error_Handler();
  }
  if (HAL_TIM_PWM_Init(&htim1) != HAL_OK)
  {
    Error_Handler();
  }
  sMasterConfig.MasterOutputTrigger = TIM_TRGO_RESET;
  sMasterConfig.MasterOutputTrigger2 = TIM_TRGO2_RESET;
  sMasterConfig.MasterSlaveMode = TIM_MASTERSLAVEMODE_DISABLE;
  if (HAL_TIMEx_MasterConfigSynchronization(&htim1, &sMasterConfig) != HAL_OK)
  {
    Error_Handler();
  }
  sConfigOC.OCMode = TIM_OCMODE_PWM1;
  sConfigOC.Pulse = 1000-1;
  sConfigOC.OCPolarity = TIM_OCPOLARITY_HIGH;
  sConfigOC.OCNPolarity = TIM_OCNPOLARITY_HIGH;
  sConfigOC.OCFastMode = TIM_OCFAST_ENABLE;
  sConfigOC.OCIdleState = TIM_OCIDLESTATE_RESET;
  sConfigOC.OCNIdleState = TIM_OCNIDLESTATE_RESET;
  if (HAL_TIM_PWM_ConfigChannel(&htim1, &sConfigOC, TIM_CHANNEL_1) != HAL_OK)
  {
    Error_Handler();
  }
  __HAL_TIM_DISABLE_OCxPRELOAD(&htim1, TIM_CHANNEL_1);
  sBreakDeadTimeConfig.OffStateRunMode = TIM_OSSR_DISABLE;
  sBreakDeadTimeConfig.OffStateIDLEMode = TIM_OSSI_DISABLE;
  sBreakDeadTimeConfig.LockLevel = TIM_LOCKLEVEL_OFF;
  sBreakDeadTimeConfig.DeadTime = 255;
  sBreakDeadTimeConfig.BreakState = TIM_BREAK_ENABLE;
  sBreakDeadTimeConfig.BreakPolarity = TIM_BREAKPOLARITY_HIGH;
  sBreakDeadTimeConfig.BreakFilter = 0;
  sBreakDeadTimeConfig.Break2State = TIM_BREAK2_DISABLE;
  sBreakDeadTimeConfig.Break2Polarity = TIM_BREAK2POLARITY_HIGH;
  sBreakDeadTimeConfig.Break2Filter = 0;
  sBreakDeadTimeConfig.AutomaticOutput = TIM_AUTOMATICOUTPUT_DISABLE;
  if (HAL_TIMEx_ConfigBreakDeadTime(&htim1, &sBreakDeadTimeConfig) != HAL_OK)
  {
    Error_Handler();
  }
  /* USER CODE BEGIN TIM1_Init 2 */

  __HAL_TIM_ENABLE_IT(&htim1,TIM_IT_UPDATE);

  /* USER CODE END TIM1_Init 2 */
  HAL_TIM_MspPostInit(&htim1);

}

static void MX_TIM2_Init(void)
{

  TIM_ClockConfigTypeDef sClockSourceConfig = {0};
  TIM_MasterConfigTypeDef sMasterConfig = {0};
  TIM_OC_InitTypeDef sConfigOC = {0};

  htim2.Instance = TIM2;
  htim2.Init.Prescaler = 0;
  htim2.Init.CounterMode = TIM_COUNTERMODE_UP;
  htim2.Init.Period = 2880-1;
  htim2.Init.ClockDivision = TIM_CLOCKDIVISION_DIV1;
  htim2.Init.AutoReloadPreload = TIM_AUTORELOAD_PRELOAD_DISABLE;
  if (HAL_TIM_Base_Init(&htim2) != HAL_OK)
  {
    Error_Handler();
  }
  sClockSourceConfig.ClockSource = TIM_CLOCKSOURCE_INTERNAL;
  if (HAL_TIM_ConfigClockSource(&htim2, &sClockSourceConfig) != HAL_OK)
  {
    Error_Handler();
  }
  if (HAL_TIM_PWM_Init(&htim2) != HAL_OK)
  {
    Error_Handler();
  }
  sMasterConfig.MasterOutputTrigger = TIM_TRGO_RESET;
  sMasterConfig.MasterSlaveMode = TIM_MASTERSLAVEMODE_DISABLE;
  if (HAL_TIMEx_MasterConfigSynchronization(&htim2, &sMasterConfig) != HAL_OK)
  {
    Error_Handler();
  }
  sConfigOC.OCMode = TIM_OCMODE_PWM1;
  sConfigOC.Pulse = 0;
  sConfigOC.OCPolarity = TIM_OCPOLARITY_HIGH;
  sConfigOC.OCFastMode = TIM_OCFAST_DISABLE;
  if (HAL_TIM_PWM_ConfigChannel(&htim2, &sConfigOC, TIM_CHANNEL_1) != HAL_OK)
  {
    Error_Handler();
  }
  __HAL_TIM_DISABLE_OCxPRELOAD(&htim2, TIM_CHANNEL_1);
  HAL_TIM_MspPostInit(&htim2);

}

static void MX_TIM3_Init(void)
{

  TIM_ClockConfigTypeDef sClockSourceConfig = {0};
  TIM_MasterConfigTypeDef sMasterConfig = {0};

  htim3.Instance = TIM3;
  htim3.Init.Prescaler = 72;
  htim3.Init.CounterMode = TIM_COUNTERMODE_UP;
  htim3.Init.Period = 10;
  htim3.Init.ClockDivision = TIM_CLOCKDIVISION_DIV1;
  htim3.Init.AutoReloadPreload = TIM_AUTORELOAD_PRELOAD_ENABLE;
  if (HAL_TIM_Base_Init(&htim3) != HAL_OK)
  {
    Error_Handler();
  }
  sClockSourceConfig.ClockSource = TIM_CLOCKSOURCE_INTERNAL;
  if (HAL_TIM_ConfigClockSource(&htim3, &sClockSourceConfig) != HAL_OK)
  {
    Error_Handler();
  }
  sMasterConfig.MasterOutputTrigger = TIM_TRGO_UPDATE;
  sMasterConfig.MasterSlaveMode = TIM_MASTERSLAVEMODE_DISABLE;
  if (HAL_TIMEx_MasterConfigSynchronization(&htim3, &sMasterConfig) != HAL_OK)
  {
    Error_Handler();
  }

}

static void MX_TIM7_Init(void)
{

  TIM_MasterConfigTypeDef sMasterConfig = {0};

  htim7.Instance = TIM7;
  htim7.Init.Prescaler = 0;
  htim7.Init.CounterMode = TIM_COUNTERMODE_UP;
  htim7.Init.Period = 300;
  htim7.Init.AutoReloadPreload = TIM_AUTORELOAD_PRELOAD_DISABLE;
  if (HAL_TIM_Base_Init(&htim7) != HAL_OK)
  {
    Error_Handler();
  }
  sMasterConfig.MasterOutputTrigger = TIM_TRGO_RESET;
  sMasterConfig.MasterSlaveMode = TIM_MASTERSLAVEMODE_DISABLE;
  if (HAL_TIMEx_MasterConfigSynchronization(&htim7, &sMasterConfig) != HAL_OK)
  {
    Error_Handler();
  }

}

static void MX_TIM8_Init(void)
{

  TIM_ClockConfigTypeDef sClockSourceConfig = {0};
  TIM_MasterConfigTypeDef sMasterConfig = {0};
  TIM_OC_InitTypeDef sConfigOC = {0};
  TIM_BreakDeadTimeConfigTypeDef sBreakDeadTimeConfig = {0};

  htim8.Instance = TIM8;
  htim8.Init.Prescaler = 1;
  htim8.Init.CounterMode = TIM_COUNTERMODE_CENTERALIGNED1;
  htim8.Init.Period = 800;
  htim8.Init.ClockDivision = TIM_CLOCKDIVISION_DIV1;
  htim8.Init.RepetitionCounter = 0;
  htim8.Init.AutoReloadPreload = TIM_AUTORELOAD_PRELOAD_DISABLE;
  if (HAL_TIM_Base_Init(&htim8) != HAL_OK)
  {
    Error_Handler();
  }
  sClockSourceConfig.ClockSource = TIM_CLOCKSOURCE_INTERNAL;
  if (HAL_TIM_ConfigClockSource(&htim8, &sClockSourceConfig) != HAL_OK)
  {
    Error_Handler();
  }
  if (HAL_TIM_PWM_Init(&htim8) != HAL_OK)
  {
    Error_Handler();
  }
  sMasterConfig.MasterOutputTrigger = TIM_TRGO_OC1REF;
  sMasterConfig.MasterOutputTrigger2 = TIM_TRGO2_OC1REF;
  sMasterConfig.MasterSlaveMode = TIM_MASTERSLAVEMODE_DISABLE;
  if (HAL_TIMEx_MasterConfigSynchronization(&htim8, &sMasterConfig) != HAL_OK)
  {
    Error_Handler();
  }
  sConfigOC.OCMode = TIM_OCMODE_ASSYMETRIC_PWM1;
  sConfigOC.Pulse = 500;
  sConfigOC.OCPolarity = TIM_OCPOLARITY_HIGH;
  sConfigOC.OCNPolarity = TIM_OCNPOLARITY_HIGH;
  sConfigOC.OCFastMode = TIM_OCFAST_ENABLE;
  sConfigOC.OCIdleState = TIM_OCIDLESTATE_RESET;
  sConfigOC.OCNIdleState = TIM_OCNIDLESTATE_RESET;
  if (HAL_TIM_PWM_ConfigChannel(&htim8, &sConfigOC, TIM_CHANNEL_1) != HAL_OK)
  {
    Error_Handler();
  }
  __HAL_TIM_DISABLE_OCxPRELOAD(&htim8, TIM_CHANNEL_1);
  sConfigOC.Pulse = 0;
  if (HAL_TIM_PWM_ConfigChannel(&htim8, &sConfigOC, TIM_CHANNEL_2) != HAL_OK)
  {
    Error_Handler();
  }
  __HAL_TIM_DISABLE_OCxPRELOAD(&htim8, TIM_CHANNEL_2);
  sConfigOC.Pulse = 500;
  sConfigOC.OCFastMode = TIM_OCFAST_DISABLE;
  if (HAL_TIM_PWM_ConfigChannel(&htim8, &sConfigOC, TIM_CHANNEL_3) != HAL_OK)
  {
    Error_Handler();
  }
  __HAL_TIM_DISABLE_OCxPRELOAD(&htim8, TIM_CHANNEL_3);
  sConfigOC.Pulse = 0;
  if (HAL_TIM_PWM_ConfigChannel(&htim8, &sConfigOC, TIM_CHANNEL_4) != HAL_OK)
  {
    Error_Handler();
  }
  __HAL_TIM_DISABLE_OCxPRELOAD(&htim8, TIM_CHANNEL_4);
  sBreakDeadTimeConfig.OffStateRunMode = TIM_OSSR_DISABLE;
  sBreakDeadTimeConfig.OffStateIDLEMode = TIM_OSSI_DISABLE;
  sBreakDeadTimeConfig.LockLevel = TIM_LOCKLEVEL_OFF;
  sBreakDeadTimeConfig.DeadTime = 100;
  sBreakDeadTimeConfig.BreakState = TIM_BREAK_DISABLE;
  sBreakDeadTimeConfig.BreakPolarity = TIM_BREAKPOLARITY_HIGH;
  sBreakDeadTimeConfig.BreakFilter = 0;
  sBreakDeadTimeConfig.Break2State = TIM_BREAK2_DISABLE;
  sBreakDeadTimeConfig.Break2Polarity = TIM_BREAK2POLARITY_HIGH;
  sBreakDeadTimeConfig.Break2Filter = 0;
  sBreakDeadTimeConfig.AutomaticOutput = TIM_AUTOMATICOUTPUT_DISABLE;
  if (HAL_TIMEx_ConfigBreakDeadTime(&htim8, &sBreakDeadTimeConfig) != HAL_OK)
  {
    Error_Handler();
  }
  HAL_TIM_MspPostInit(&htim8);

}

static void MX_USART2_UART_Init(void)
{

  huart2.Instance = USART2;
  huart2.Init.BaudRate = 38400;
  huart2.Init.WordLength = UART_WORDLENGTH_8B;
  huart2.Init.StopBits = UART_STOPBITS_1;
  huart2.Init.Parity = UART_PARITY_NONE;
  huart2.Init.Mode = UART_MODE_TX_RX;
  huart2.Init.HwFlowCtl = UART_HWCONTROL_NONE;
  huart2.Init.OverSampling = UART_OVERSAMPLING_16;
  huart2.Init.OneBitSampling = UART_ONE_BIT_SAMPLE_DISABLE;
  huart2.AdvancedInit.AdvFeatureInit = UART_ADVFEATURE_NO_INIT;
  if (HAL_UART_Init(&huart2) != HAL_OK)
  {
    Error_Handler();
  }

}

static void MX_DMA_Init(void)
{

  /* DMA controller clock enable */
  __HAL_RCC_DMA1_CLK_ENABLE();
  __HAL_RCC_DMA2_CLK_ENABLE();

  /* Configure DMA request hdma_memtomem_dma1_channel4 on DMA1_Channel4 */
  hdma_memtomem_dma1_channel4.Instance = DMA1_Channel4;
  hdma_memtomem_dma1_channel4.Init.Direction = DMA_MEMORY_TO_MEMORY;
  hdma_memtomem_dma1_channel4.Init.PeriphInc = DMA_PINC_ENABLE;
  hdma_memtomem_dma1_channel4.Init.MemInc = DMA_MINC_ENABLE;
  hdma_memtomem_dma1_channel4.Init.PeriphDataAlignment = DMA_PDATAALIGN_HALFWORD;
  hdma_memtomem_dma1_channel4.Init.MemDataAlignment = DMA_MDATAALIGN_HALFWORD;
  hdma_memtomem_dma1_channel4.Init.Mode = DMA_NORMAL;
  hdma_memtomem_dma1_channel4.Init.Priority = DMA_PRIORITY_HIGH;
  if (HAL_DMA_Init(&hdma_memtomem_dma1_channel4) != HAL_OK)
  {
    Error_Handler( );
  }

  /* DMA interrupt init */
  /* DMA1_Channel1_IRQn interrupt configuration */
  HAL_NVIC_SetPriority(DMA1_Channel1_IRQn, 0, 0);
  HAL_NVIC_EnableIRQ(DMA1_Channel1_IRQn);
  /* DMA1_Channel3_IRQn interrupt configuration */
  HAL_NVIC_SetPriority(DMA1_Channel3_IRQn, 0, 0);
  HAL_NVIC_EnableIRQ(DMA1_Channel3_IRQn);
  /* DMA1_Channel5_IRQn interrupt configuration */
  HAL_NVIC_SetPriority(DMA1_Channel5_IRQn, 0, 0);
  HAL_NVIC_EnableIRQ(DMA1_Channel5_IRQn);
  /* DMA2_Channel1_IRQn interrupt configuration */
  HAL_NVIC_SetPriority(DMA2_Channel1_IRQn, 0, 0);
  HAL_NVIC_EnableIRQ(DMA2_Channel1_IRQn);
  /* DMA2_Channel2_IRQn interrupt configuration */
  HAL_NVIC_SetPriority(DMA2_Channel2_IRQn, 0, 0);
  HAL_NVIC_EnableIRQ(DMA2_Channel2_IRQn);
  /* DMA2_Channel5_IRQn interrupt configuration */
  HAL_NVIC_SetPriority(DMA2_Channel5_IRQn, 0, 0);
  HAL_NVIC_EnableIRQ(DMA2_Channel5_IRQn);

}

static void MX_GPIO_Init(void)
{
  GPIO_InitTypeDef GPIO_InitStruct = {0};

  /* GPIO Ports Clock Enable */
  __HAL_RCC_GPIOC_CLK_ENABLE();
  __HAL_RCC_GPIOF_CLK_ENABLE();
  __HAL_RCC_GPIOA_CLK_ENABLE();
  __HAL_RCC_GPIOB_CLK_ENABLE();

  /*Configure GPIO pin Output Level */
  HAL_GPIO_WritePin(GPIOC, GPIO_PIN_3|GPIO_PIN_4|GPIO_PIN_7|GPIO_PIN_8
                          |GPIO_PIN_9, GPIO_PIN_RESET);

  /*Configure GPIO pin Output Level */
  HAL_GPIO_WritePin(GPIOA, GPIO_PIN_5, GPIO_PIN_RESET);

  /*Configure GPIO pin Output Level */
  HAL_GPIO_WritePin(GPIOB, GPIO_PIN_10|GPIO_PIN_13|GPIO_PIN_14, GPIO_PIN_RESET);

  /*Configure GPIO pins : PC3 PC4 PC7 PC8
                           PC9 */
  GPIO_InitStruct.Pin = GPIO_PIN_3|GPIO_PIN_4|GPIO_PIN_7|GPIO_PIN_8
                          |GPIO_PIN_9;
  GPIO_InitStruct.Mode = GPIO_MODE_OUTPUT_PP;
  GPIO_InitStruct.Pull = GPIO_NOPULL;
  GPIO_InitStruct.Speed = GPIO_SPEED_FREQ_LOW;
  HAL_GPIO_Init(GPIOC, &GPIO_InitStruct);

  /*Configure GPIO pin : PA5 */
  GPIO_InitStruct.Pin = GPIO_PIN_5;
  GPIO_InitStruct.Mode = GPIO_MODE_OUTPUT_PP;
  GPIO_InitStruct.Pull = GPIO_NOPULL;
  GPIO_InitStruct.Speed = GPIO_SPEED_FREQ_LOW;
  HAL_GPIO_Init(GPIOA, &GPIO_InitStruct);

  /*Configure GPIO pins : PB1 PB15 */
  GPIO_InitStruct.Pin = GPIO_PIN_1|GPIO_PIN_15;
  GPIO_InitStruct.Mode = GPIO_MODE_INPUT;
  GPIO_InitStruct.Pull = GPIO_NOPULL;
  HAL_GPIO_Init(GPIOB, &GPIO_InitStruct);

  /*Configure GPIO pin : PB2 */
  GPIO_InitStruct.Pin = GPIO_PIN_2;
  GPIO_InitStruct.Mode = GPIO_MODE_IT_RISING;
  GPIO_InitStruct.Pull = GPIO_NOPULL;
  HAL_GPIO_Init(GPIOB, &GPIO_InitStruct);

  /*Configure GPIO pins : PB10 PB13 PB14 */
  GPIO_InitStruct.Pin = GPIO_PIN_10|GPIO_PIN_13|GPIO_PIN_14;
  GPIO_InitStruct.Mode = GPIO_MODE_OUTPUT_PP;
  GPIO_InitStruct.Pull = GPIO_NOPULL;
  GPIO_InitStruct.Speed = GPIO_SPEED_FREQ_LOW;
  HAL_GPIO_Init(GPIOB, &GPIO_InitStruct);

}

/* USER CODE BEGIN 4 */

void HAL_TIM_PeriodElapsedCallback(TIM_HandleTypeDef* htim)
{
  if (htim->Instance == TIM1)
  {
	  DMA1_Channel5->CCR &= ~DMA_CCR_EN;// disable
	  DMA1_Channel5->CNDTR = 249;
	  DMA1_Channel5->CCR |= DMA_CCR_EN; // re-enable
  }
}

/* USER CODE END 4 */

void Error_Handler(void)
{
}
